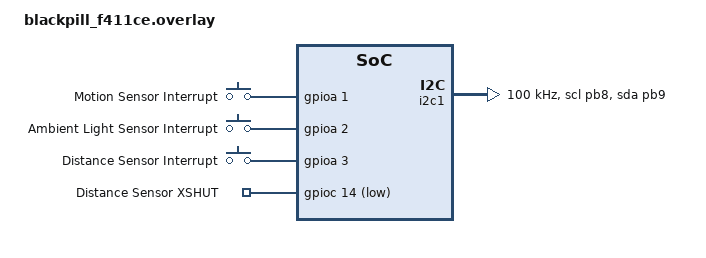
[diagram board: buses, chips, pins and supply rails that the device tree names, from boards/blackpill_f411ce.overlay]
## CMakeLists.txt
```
cmake_minimum_required(VERSION 3.15.0)

find_package(Zephyr REQUIRED HINTS $ENV{ZEPHYR_BASE})

project(door_monitoring)

target_sources(
    app
    PRIVATE
    src/main.c
    src/application/door_monitoring.c
    src/lib/door_state_manager/door_state_manager.c
    src/lib/door_state_machine/door_state_machine.c
    src/sensors/ambient_light_sensor/opt4003dnprq1.c
    src/sensors/motion_sensor/lis2dw12tr.c
    src/sensors/distance_sensor/vl53l3cx.c
)

target_include_directories(
    app
    PRIVATE
    include/application
    include/lib
    include/sensors
    config/
    src/sensors/ambient_light_sensor
    src/sensors/motion_sensor
    src/sensors/distance_sensor
)

#####################################################################
# not working

# cmake_minimum_required(VERSION 3.15.0)

# find_package(Zephyr REQUIRED HINTS $ENV{ZEPHYR_BASE})

# project(door_monitoring)

# # Add the library directory
# add_subdirectory(src/application)

# # Add main application source file
# target_sources(app PRIVATE src/main.c)

# # Include directories for the application
# target_include_directories(app PRIVATE include/application)
```

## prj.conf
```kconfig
CONFIG_GPIO=y
CONFIG_I2C=y
CONFIG_STDOUT_CONSOLE=y
CONFIG_LOG=y

# Enable power management
CONFIG_PM=y
CONFIG_PM_DEVICE=y

# Enable low power modes
# Enable deep sleep (STOP mode)
CONFIG_PM_DEVICE_RUNTIME=y

# Zephyr power management policy
CONFIG_PM_POLICY_DEFAULT=y
```

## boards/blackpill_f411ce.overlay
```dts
/{
    aliases {
        extint0       = &motion_interrupt;
        extint1       = &light_interrupt;
        extint2       = &distance_interrupt;
        motioni2c     = &i2c1;
        lighti2c      = &i2c1;
        distancei2c   = &i2c1;
        distancexshut = &distance_xshut;
    };

    motion_interrupt: motion-interrupt {
        compatible = "gpio-keys";
        status     = "okay";
        motion_sensor_int {
            gpios = <&gpioa 1 GPIO_ACTIVE_HIGH>;
            label = "Motion Sensor Interrupt";
        };
    };

    light_interrupt: light-interrupt {
        compatible = "gpio-keys";
        status     = "okay";
        light_sensor_int {
            gpios = <&gpioa 2 GPIO_ACTIVE_HIGH>;
            label = "Ambient Light Sensor Interrupt";
        };
    };

    distance_interrupt: distance-interrupt {
        compatible = "gpio-keys";
        status     = "okay";
        distance_sensor_int {
            gpios = <&gpioa 3 GPIO_ACTIVE_HIGH>;
            label = "Distance Sensor Interrupt";
        };
    };

    distance_xshut: distance-xshut {
        compatible = "gpio-keys";
        status     = "okay";
        distance_sensor_xshut {
            gpios = <&gpioc 14 GPIO_ACTIVE_LOW>;
            label = "Distance Sensor XSHUT";
        };
    };
};

&i2c1 {
    pinctrl-0 = <&i2c1_scl_pb8 &i2c1_sda_pb9>; // Default state
    pinctrl-1 = <&i2c1_scl_sleep_pb8 &i2c1_sda_sleep_pb9>; // Sleep state
    pinctrl-names = "default", "sleep"; // Names for the states
    status = "okay";
    clock-frequency = <I2C_BITRATE_STANDARD>;
};

/* Define sleep state pin configurations */
&pinctrl {
    i2c1_scl_sleep_pb8: i2c1_scl_sleep_pb8 {
        pinmux = <STM32_PINMUX('B', 8, ANALOG)>; // Configure as analog in sleep mode
        bias-disable;
    };

    i2c1_sda_sleep_pb9: i2c1_sda_sleep_pb9 {
        pinmux = <STM32_PINMUX('B', 9, ANALOG)>; // Configure as analog in sleep mode
        bias-disable;
    };
};
```

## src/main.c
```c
#include "door_monitoring.h"

int main(void)
{
    door_monitoring_init();
    door_monitoring_run();

    return 0;
}
```
